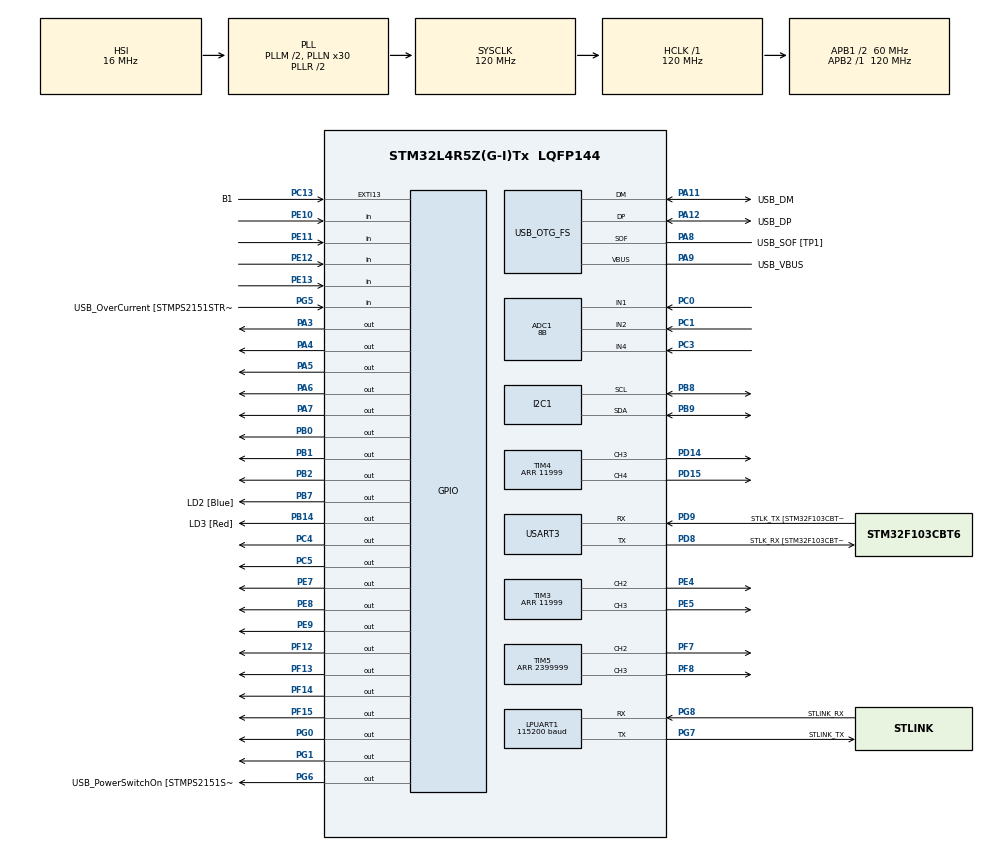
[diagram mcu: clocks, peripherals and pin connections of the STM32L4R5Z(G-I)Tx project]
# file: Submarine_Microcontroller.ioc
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ADC1.Channel-0\#ChannelRegularConversion=ADC_CHANNEL_1
ADC1.Channel-1\#ChannelRegularConversion=ADC_CHANNEL_2
ADC1.Channel-2\#ChannelRegularConversion=ADC_CHANNEL_4
ADC1.DMAContinuousRequests=ENABLE
ADC1.NbrOfConversion=3
ADC1.NbrOfConversionFlag=1
ADC1.OffsetNumber-0\#ChannelRegularConversion=ADC_OFFSET_NONE
ADC1.OffsetNumber-1\#ChannelRegularConversion=ADC_OFFSET_NONE
ADC1.OffsetNumber-2\#ChannelRegularConversion=ADC_OFFSET_NONE
ADC1.Rank-0\#ChannelRegularConversion=1
ADC1.Rank-1\#ChannelRegularConversion=2
ADC1.Rank-2\#ChannelRegularConversion=3
ADC1.Resolution=ADC_RESOLUTION_8B
ADC1.SamplingTime-0\#ChannelRegularConversion=ADC_SAMPLETIME_2CYCLES_5
ADC1.SamplingTime-1\#ChannelRegularConversion=ADC_SAMPLETIME_2CYCLES_5
ADC1.SamplingTime-2\#ChannelRegularConversion=ADC_SAMPLETIME_2CYCLES_5
ADC1.master=1
Dma.ADC1.0.Direction=DMA_PERIPH_TO_MEMORY
Dma.ADC1.0.EventEnable=DISABLE
Dma.ADC1.0.Instance=DMA1_Channel1
Dma.ADC1.0.MemDataAlignment=DMA_MDATAALIGN_WORD
Dma.ADC1.0.MemInc=DMA_MINC_ENABLE
Dma.ADC1.0.Mode=DMA_CIRCULAR
Dma.ADC1.0.PeriphDataAlignment=DMA_PDATAALIGN_WORD
Dma.ADC1.0.PeriphInc=DMA_PINC_DISABLE
Dma.ADC1.0.Polarity=HAL_DMAMUX_REQUEST_GEN_RISING
Dma.ADC1.0.Priority=DMA_PRIORITY_LOW
Dma.ADC1.0.RequestNumber=1
Dma.ADC1.0.SignalID=NONE
Dma.ADC1.0.SyncEnable=DISABLE
Dma.ADC1.0.SyncPolarity=HAL_DMAMUX_SYNC_NO_EVENT
Dma.ADC1.0.SyncRequestNumber=1
Dma.ADC1.0.SyncSignalID=NONE
Dma.Request0=ADC1
I2C1.Timing=0x107075B0
LPUART1.BaudRate=115200
LPUART1.WordLength=UART_WORDLENGTH_8B
Mcu.Family=STM32L4
Mcu.Name=STM32L4R5Z(G-I)Tx
Mcu.Package=LQFP144
NVIC.DMA1_Channel1_IRQn=true\:0\:0\:false\:false\:true\:false\:true\:true
NVIC.LPUART1_IRQn=true\:0\:0\:false\:false\:true\:true\:true\:true
NVIC.PriorityGroup=NVIC_PRIORITYGROUP_4
PA0.Signal=ADCx_IN5
PA10.GPIO_Label=USB_ID
PA10.Signal=USB_OTG_FS_ID
PA11.GPIO_Label=USB_DM
PA11.Mode=Device_Only
PA11.Signal=USB_OTG_FS_DM
PA12.GPIO_Label=USB_DP
PA12.Mode=Device_Only
PA12.Signal=USB_OTG_FS_DP
PA13\ (JTMS/SWDIO).GPIO_Label=TMS
PA13\ (JTMS/SWDIO).Mode=Trace_Asynchronous_SW
PA13\ (JTMS/SWDIO).Signal=SYS_JTMS-SWDIO
PA14\ (JTCK/SWCLK).GPIO_Label=TCK
PA14\ (JTCK/SWCLK).Mode=Trace_Asynchronous_SW
PA14\ (JTCK/SWCLK).Signal=SYS_JTCK-SWCLK
PA3.Signal=GPIO_Output
PA4.Signal=GPIO_Output
PA5.Signal=GPIO_Output
PA6.Signal=GPIO_Output
PA7.Signal=GPIO_Output
PA8.GPIO_Label=USB_SOF [TP1]
PA8.Mode=Activate_SOF_FS
PA8.Signal=USB_OTG_FS_SOF
PA9.GPIO_Label=USB_VBUS
PA9.Mode=Activate_VBUS
PA9.Signal=USB_OTG_FS_VBUS
PB0.Signal=GPIO_Output
PB1.Signal=GPIO_Output
PB14.GPIO_Label=LD3 [Red]
PB14.Signal=GPIO_Output
PB2.Signal=GPIO_Output
PB3\ (JTDO/TRACESWO).GPIO_Label=SWO
PB3\ (JTDO/TRACESWO).Mode=Trace_Asynchronous_SW
PB3\ (JTDO/TRACESWO).Signal=SYS_JTDO-SWO
PB7.GPIO_Label=LD2 [Blue]
PB7.Signal=GPIO_Output
PB8.Mode=I2C
PB8.Signal=I2C1_SCL
PB9.Mode=I2C
PB9.Signal=I2C1_SDA
PC0.Signal=ADCx_IN1
PC1.Signal=ADCx_IN2
PC13.GPIO_Label=B1
PC13.Signal=GPXTI13
PC14-OSC32_IN\ (PC14).Signal=RCC_OSC32_IN
PC15-OSC32_OUT\ (PC15).Signal=RCC_OSC32_OUT
PC3.Signal=ADCx_IN4
PC4.Signal=GPIO_Output
PC5.Signal=GPIO_Output
PD14.Signal=S_TIM4_CH3
PD15.Signal=S_TIM4_CH4
PD8.GPIO_Label=STLK_RX [STM32F103CBT6_PA3]
PD8.GPIO_Speed=GPIO_SPEED_FREQ_HIGH
PD8.Mode=Asynchronous
PD8.Signal=USART3_TX
PD9.GPIO_Label=STLK_TX [STM32F103CBT6_PA2]
PD9.GPIO_Speed=GPIO_SPEED_FREQ_HIGH
PD9.Mode=Asynchronous
PD9.Signal=USART3_RX
PE10.Signal=GPIO_Input
PE11.Signal=GPIO_Input
PE12.Signal=GPIO_Input
PE13.Signal=GPIO_Input
PE4.Signal=S_TIM3_CH2
PE5.Signal=S_TIM3_CH3
PE7.Signal=GPIO_Output
PE8.Signal=GPIO_Output
PE9.Signal=GPIO_Output
PF12.Signal=GPIO_Output
PF13.Signal=GPIO_Output
PF14.Signal=GPIO_Output
PF15.Signal=GPIO_Output
PF7.Signal=S_TIM5_CH2
PF8.Signal=S_TIM5_CH3
PG0.Signal=GPIO_Output
PG1.Signal=GPIO_Output
PG5.GPIO_Label=USB_OverCurrent [STMPS2151STR_FAULT]
PG5.Signal=GPIO_Input
PG6.GPIO_Label=USB_PowerSwitchOn [STMPS2151STR_EN]
PG6.Signal=GPIO_Output
PG7.GPIO_Label=STLINK_TX
PG7.Mode=Asynchronous
PG7.Signal=LPUART1_TX
PG8.GPIO_Label=STLINK_RX
PG8.Mode=Asynchronous
PG8.Signal=LPUART1_RX
PH0-OSC_IN\ (PH0).Mode=HSE-External-Oscillator
PH0-OSC_IN\ (PH0).Signal=RCC_OSC_IN
PH1-OSC_OUT\ (PH1).Mode=HSE-External-Oscillator
PH1-OSC_OUT\ (PH1).Signal=RCC_OSC_OUT
ProjectManager.HeapSize=0x200
ProjectManager.StackSize=0x400
ProjectManager.TargetToolchain=Makefile
RCC.48MHZClocksFreq_Value=24000000
RCC.ADCFreq_Value=48000000
RCC.AHBFreq_Value=120000000
RCC.APB1CLKDivider=RCC_HCLK_DIV2
RCC.APB1Freq_Value=60000000
RCC.APB1TimFreq_Value=120000000
RCC.APB2Freq_Value=120000000
RCC.APB2TimFreq_Value=120000000
RCC.CK48CLockSelection=RCC_USBCLKSOURCE_HSI48
RCC.CortexFreq_Value=120000000
RCC.HCLKFreq_Value=120000000
RCC.HSE_VALUE=8000000
RCC.HSI48_VALUE=48000000
RCC.HSI_VALUE=16000000
RCC.LSE_VALUE=32768
RCC.MSI_VALUE=4000000
RCC.PLLM1=2
RCC.PLLM2=2
RCC.PLLMUL=RCC_PLL_MUL9
RCC.PLLN=30
RCC.PLLSAI1N=12
RCC.PLLSourceVirtual=RCC_PLLSOURCE_HSI
RCC.PRESCALERUSB=RCC_USBCLKSOURCE_PLL_DIV1_5
RCC.SYSCLKFreq_VALUE=120000000
RCC.SYSCLKSource=RCC_SYSCLKSOURCE_PLLCLK
RCC.SYSCLKSourceVirtual=RCC_SYSCLKSOURCE_PLLCLK
RCC.USBFreq_Value=48000000
RCC.VCOOutputFreq_Value=240000000
SH.ADCx_IN1.0=ADC1_IN1,IN1-Single-Ended
SH.ADCx_IN2.0=ADC1_IN2,IN2-Single-Ended
SH.ADCx_IN4.0=ADC1_IN4,IN4-Single-Ended
SH.ADCx_IN5.0=ADC1_IN5
SH.S_TIM3_CH2.0=TIM3_CH2,PWM Generation2 CH2
SH.S_TIM3_CH3.0=TIM3_CH3,PWM Generation3 CH3
SH.S_TIM4_CH3.0=TIM4_CH3,PWM Generation3 CH3
SH.S_TIM4_CH4.0=TIM4_CH4,PWM Generation4 CH4
SH.S_TIM5_CH2.0=TIM5_CH2,PWM Generation2 CH2
SH.S_TIM5_CH3.0=TIM5_CH3,PWM Generation3 CH3
TIM3.AutoReloadPreload=TIM_AUTORELOAD_PRELOAD_ENABLE
TIM3.Channel-PWM\ Generation2\ CH2=TIM_CHANNEL_2
TIM3.Channel-PWM\ Generation3\ CH3=TIM_CHANNEL_3
TIM3.Period=11999
TIM4.AutoReloadPreload=TIM_AUTORELOAD_PRELOAD_ENABLE
TIM4.Channel-PWM\ Generation3\ CH3=TIM_CHANNEL_3
TIM4.Channel-PWM\ Generation4\ CH4=TIM_CHANNEL_4
TIM4.Period=11999
TIM5.AutoReloadPreload=TIM_AUTORELOAD_PRELOAD_ENABLE
TIM5.Channel-PWM\ Generation2\ CH2=TIM_CHANNEL_2
TIM5.Channel-PWM\ Generation3\ CH3=TIM_CHANNEL_3
TIM5.Period=2399999
USART3.VirtualMode-Asynchronous=VM_ASYNC
USB_OTG_FS.VirtualMode=Device_Only
VP_TIM3_VS_ClockSourceINT.Mode=Internal
VP_TIM4_VS_ClockSourceINT.Mode=Internal
VP_TIM5_VS_ClockSourceINT.Mode=Internal
board=NUCLEO-L4R5ZI

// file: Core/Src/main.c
/* USER CODE BEGIN Header */
/**
  ******************************************************************************
  * Author          : Dyllon Dunton
  * Date            : 12/11/2023
  ******************************************************************************
  * @file           : main.c
  * @brief          : Main program body
  ******************************************************************************
  * @attention
  *
  * Copyright (c) 2023 STMicroelectronics.
  * All rights reserved.
  *
  * This software is licensed under terms that can be found in the LICENSE file
  * in the root directory of this software component.
  * If no LICENSE file comes with this software, it is provided AS-IS.
  *
  ******************************************************************************
  */
/* USER CODE END Header */
#include "main.h"

/* USER CODE BEGIN Includes */
#include "string.h"
#include "math.h"
#include "stdio.h"

#include "perception.h"
#include "planner.h"
#include "controller.h"
#include "actuator.h"
/* USER CODE END Includes */

ADC_HandleTypeDef hadc1;
DMA_HandleTypeDef hdma_adc1;

I2C_HandleTypeDef hi2c1;

UART_HandleTypeDef hlpuart1;
UART_HandleTypeDef huart3;

TIM_HandleTypeDef htim3;
TIM_HandleTypeDef htim4;
TIM_HandleTypeDef htim5;

PCD_HandleTypeDef hpcd_USB_OTG_FS;

void SystemClock_Config(void);
static void MX_GPIO_Init(void);
static void MX_DMA_Init(void);
static void MX_ADC1_Init(void);
static void MX_I2C1_Init(void);
static void MX_LPUART1_UART_Init(void);
static void MX_USART3_UART_Init(void);
static void MX_USB_OTG_FS_PCD_Init(void);
static void MX_TIM3_Init(void);
static void MX_TIM4_Init(void);
static void MX_TIM5_Init(void);

/* USER CODE BEGIN 0 */
volatile uint8_t rx_received = 0;
volatile uint8_t rx_data[42];
char tx_buffer[100];
uint32_t adcs[3];

/* USER CODE END 0 */

int main(void)
{

  /* MCU Configuration--------------------------------------------------------*/

  /* Reset of all peripherals, Initializes the Flash interface and the Systick. */
  HAL_Init();

  /* Configure the system clock */
  SystemClock_Config();

  /* Initialize all configured peripherals */
  MX_GPIO_Init();
  MX_DMA_Init();
  MX_ADC1_Init();
  MX_I2C1_Init();
  MX_LPUART1_UART_Init();
  MX_USART3_UART_Init();
  MX_USB_OTG_FS_PCD_Init();
  MX_TIM3_Init();
  MX_TIM4_Init();
  MX_TIM5_Init();
  /* USER CODE BEGIN 2 */
	MTR_DRV_INIT();
	HAL_UART_Receive_IT(&hlpuart1, (uint8_t *)rx_data, 42); //Init recieve global interupt for 35 bit buffer
	HAL_TIM_PWM_Start(&htim3, TIM_CHANNEL_2);
	HAL_TIM_PWM_Start(&htim3, TIM_CHANNEL_3);
	HAL_TIM_PWM_Start(&htim4, TIM_CHANNEL_3);
	HAL_TIM_PWM_Start(&htim4, TIM_CHANNEL_4);
	HAL_TIM_PWM_Start(&htim5, TIM_CHANNEL_2);
	HAL_TIM_PWM_Start(&htim5, TIM_CHANNEL_3);

  /* USER CODE END 2 */

  /* Infinite loop */
  /* USER CODE BEGIN WHILE */
  while (1)
  {

	if (rx_received) //New Transmission from RPI
	{
		HAL_ADC_Start_DMA(&hadc1, adcs, 3); //Grab ADC values
		struct envData inputs = envRead(adcs); //Store ADCs and inputs
		struct goalCommand command = parseComs(rx_data); //Get serial data and store command
		struct actuator_command control = controller(command, inputs); //use sensor data and command to set controls
		updateActuators(hlpuart1, control); //Set motors and transmit data back to Raspberry Pi

		rx_received = 0; //get ready for next transmission
	}

    /* USER CODE END WHILE */

  }
}

void SystemClock_Config(void)
{
  RCC_OscInitTypeDef RCC_OscInitStruct = {0};
  RCC_ClkInitTypeDef RCC_ClkInitStruct = {0};

  /** Configure the main internal regulator output voltage
  */
  if (HAL_PWREx_ControlVoltageScaling(PWR_REGULATOR_VOLTAGE_SCALE1_BOOST) != HAL_OK)
  {
    Error_Handler();
  }

  /** Initializes the RCC Oscillators according to the specified parameters
  * in the RCC_OscInitTypeDef structure.
  */
  RCC_OscInitStruct.OscillatorType = RCC_OSCILLATORTYPE_HSI48|RCC_OSCILLATORTYPE_HSI;
  RCC_OscInitStruct.HSIState = RCC_HSI_ON;
  RCC_OscInitStruct.HSI48State = RCC_HSI48_ON;
  RCC_OscInitStruct.HSICalibrationValue = RCC_HSICALIBRATION_DEFAULT;
  RCC_OscInitStruct.PLL.PLLState = RCC_PLL_ON;
  RCC_OscInitStruct.PLL.PLLSource = RCC_PLLSOURCE_HSI;
  RCC_OscInitStruct.PLL.PLLM = 2;
  RCC_OscInitStruct.PLL.PLLN = 30;
  RCC_OscInitStruct.PLL.PLLP = RCC_PLLP_DIV2;
  RCC_OscInitStruct.PLL.PLLQ = RCC_PLLQ_DIV2;
  RCC_OscInitStruct.PLL.PLLR = RCC_PLLR_DIV2;
  if (HAL_RCC_OscConfig(&RCC_OscInitStruct) != HAL_OK)
  {
    Error_Handler();
  }

  /** Initializes the CPU, AHB and APB buses clocks
  */
  RCC_ClkInitStruct.ClockType = RCC_CLOCKTYPE_HCLK|RCC_CLOCKTYPE_SYSCLK
                              |RCC_CLOCKTYPE_PCLK1|RCC_CLOCKTYPE_PCLK2;
  RCC_ClkInitStruct.SYSCLKSource = RCC_SYSCLKSOURCE_PLLCLK;
  RCC_ClkInitStruct.AHBCLKDivider = RCC_SYSCLK_DIV1;
  RCC_ClkInitStruct.APB1CLKDivider = RCC_HCLK_DIV2;
  RCC_ClkInitStruct.APB2CLKDivider = RCC_HCLK_DIV1;

  if (HAL_RCC_ClockConfig(&RCC_ClkInitStruct, FLASH_LATENCY_5) != HAL_OK)
  {
    Error_Handler();
  }
}

static void MX_ADC1_Init(void)
{

  ADC_ChannelConfTypeDef sConfig = {0};

  /** Common config
  */
  hadc1.Instance = ADC1;
  hadc1.Init.ClockPrescaler = ADC_CLOCK_ASYNC_DIV1;
  hadc1.Init.Resolution = ADC_RESOLUTION_8B;
  hadc1.Init.DataAlign = ADC_DATAALIGN_RIGHT;
  hadc1.Init.ScanConvMode = ADC_SCAN_ENABLE;
  hadc1.Init.EOCSelection = ADC_EOC_SINGLE_CONV;
  hadc1.Init.LowPowerAutoWait = DISABLE;
  hadc1.Init.ContinuousConvMode = DISABLE;
  hadc1.Init.NbrOfConversion = 3;
  hadc1.Init.DiscontinuousConvMode = DISABLE;
  hadc1.Init.ExternalTrigConv = ADC_SOFTWARE_START;
  hadc1.Init.ExternalTrigConvEdge = ADC_EXTERNALTRIGCONVEDGE_NONE;
  hadc1.Init.DMAContinuousRequests = ENABLE;
  hadc1.Init.Overrun = ADC_OVR_DATA_PRESERVED;
  hadc1.Init.OversamplingMode = DISABLE;
  hadc1.Init.DFSDMConfig = ADC_DFSDM_MODE_ENABLE;
  if (HAL_ADC_Init(&hadc1) != HAL_OK)
  {
    Error_Handler();
  }

  /** Configure Regular Channel
  */
  sConfig.Channel = ADC_CHANNEL_1;
  sConfig.Rank = ADC_REGULAR_RANK_1;
  sConfig.SamplingTime = ADC_SAMPLETIME_2CYCLES_5;
  sConfig.SingleDiff = ADC_SINGLE_ENDED;
  sConfig.OffsetNumber = ADC_OFFSET_NONE;
  sConfig.Offset = 0;
  if (HAL_ADC_ConfigChannel(&hadc1, &sConfig) != HAL_OK)
  {
    Error_Handler();
  }

  /** Configure Regular Channel
  */
  sConfig.Channel = ADC_CHANNEL_2;
  sConfig.Rank = ADC_REGULAR_RANK_2;
  if (HAL_ADC_ConfigChannel(&hadc1, &sConfig) != HAL_OK)
  {
    Error_Handler();
  }

  /** Configure Regular Channel
  */
  sConfig.Channel = ADC_CHANNEL_4;
  sConfig.Rank = ADC_REGULAR_RANK_3;
  if (HAL_ADC_ConfigChannel(&hadc1, &sConfig) != HAL_OK)
  {
    Error_Handler();
  }

}

static void MX_I2C1_Init(void)
{

  hi2c1.Instance = I2C1;
  hi2c1.Init.Timing = 0x107075B0;
  hi2c1.Init.OwnAddress1 = 0;
  hi2c1.Init.AddressingMode = I2C_ADDRESSINGMODE_7BIT;
  hi2c1.Init.DualAddressMode = I2C_DUALADDRESS_DISABLE;
  hi2c1.Init.OwnAddress2 = 0;
  hi2c1.Init.OwnAddress2Masks = I2C_OA2_NOMASK;
  hi2c1.Init.GeneralCallMode = I2C_GENERALCALL_DISABLE;
  hi2c1.Init.NoStretchMode = I2C_NOSTRETCH_DISABLE;
  if (HAL_I2C_Init(&hi2c1) != HAL_OK)
  {
    Error_Handler();
  }

  /** Configure Analogue filter
  */
  if (HAL_I2CEx_ConfigAnalogFilter(&hi2c1, I2C_ANALOGFILTER_ENABLE) != HAL_OK)
  {
    Error_Handler();
  }

  /** Configure Digital filter
  */
  if (HAL_I2CEx_ConfigDigitalFilter(&hi2c1, 0) != HAL_OK)
  {
    Error_Handler();
  }

}

static void MX_LPUART1_UART_Init(void)
{

  hlpuart1.Instance = LPUART1;
  hlpuart1.Init.BaudRate = 115200;
  hlpuart1.Init.WordLength = UART_WORDLENGTH_8B;
  hlpuart1.Init.StopBits = UART_STOPBITS_1;
  hlpuart1.Init.Parity = UART_PARITY_NONE;
  hlpuart1.Init.Mode = UART_MODE_TX_RX;
  hlpuart1.Init.HwFlowCtl = UART_HWCONTROL_NONE;
  hlpuart1.Init.OneBitSampling = UART_ONE_BIT_SAMPLE_DISABLE;
  hlpuart1.Init.ClockPrescaler = UART_PRESCALER_DIV1;
  hlpuart1.AdvancedInit.AdvFeatureInit = UART_ADVFEATURE_NO_INIT;
  hlpuart1.FifoMode = UART_FIFOMODE_DISABLE;
  if (HAL_UART_Init(&hlpuart1) != HAL_OK)
  {
    Error_Handler();
  }
  if (HAL_UARTEx_SetTxFifoThreshold(&hlpuart1, UART_TXFIFO_THRESHOLD_1_8) != HAL_OK)
  {
    Error_Handler();
  }
  if (HAL_UARTEx_SetRxFifoThreshold(&hlpuart1, UART_RXFIFO_THRESHOLD_1_8) != HAL_OK)
  {
    Error_Handler();
  }
  if (HAL_UARTEx_DisableFifoMode(&hlpuart1) != HAL_OK)
  {
    Error_Handler();
  }

}

static void MX_USART3_UART_Init(void)
{

  huart3.Instance = USART3;
  huart3.Init.BaudRate = 115200;
  huart3.Init.WordLength = UART_WORDLENGTH_8B;
  huart3.Init.StopBits = UART_STOPBITS_1;
  huart3.Init.Parity = UART_PARITY_NONE;
  huart3.Init.Mode = UART_MODE_TX_RX;
  huart3.Init.HwFlowCtl = UART_HWCONTROL_NONE;
  huart3.Init.OverSampling = UART_OVERSAMPLING_16;
  huart3.Init.OneBitSampling = UART_ONE_BIT_SAMPLE_DISABLE;
  huart3.Init.ClockPrescaler = UART_PRESCALER_DIV1;
  huart3.AdvancedInit.AdvFeatureInit = UART_ADVFEATURE_NO_INIT;
  if (HAL_UART_Init(&huart3) != HAL_OK)
  {
    Error_Handler();
  }
  if (HAL_UARTEx_SetTxFifoThreshold(&huart3, UART_TXFIFO_THRESHOLD_1_8) != HAL_OK)
  {
    Error_Handler();
  }
  if (HAL_UARTEx_SetRxFifoThreshold(&huart3, UART_RXFIFO_THRESHOLD_1_8) != HAL_OK)
  {
    Error_Handler();
  }
  if (HAL_UARTEx_DisableFifoMode(&huart3) != HAL_OK)
  {
    Error_Handler();
  }

}

static void MX_TIM3_Init(void)
{

  TIM_ClockConfigTypeDef sClockSourceConfig = {0};
  TIM_MasterConfigTypeDef sMasterConfig = {0};
  TIM_OC_InitTypeDef sConfigOC = {0};

  htim3.Instance = TIM3;
  htim3.Init.Prescaler = 0;
  htim3.Init.CounterMode = TIM_COUNTERMODE_UP;
  htim3.Init.Period = 11999;
  htim3.Init.ClockDivision = TIM_CLOCKDIVISION_DIV1;
  htim3.Init.AutoReloadPreload = TIM_AUTORELOAD_PRELOAD_ENABLE;
  if (HAL_TIM_Base_Init(&htim3) != HAL_OK)
  {
    Error_Handler();
  }
  sClockSourceConfig.ClockSource = TIM_CLOCKSOURCE_INTERNAL;
  if (HAL_TIM_ConfigClockSource(&htim3, &sClockSourceConfig) != HAL_OK)
  {
    Error_Handler();
  }
  if (HAL_TIM_PWM_Init(&htim3) != HAL_OK)
  {
    Error_Handler();
  }
  sMasterConfig.MasterOutputTrigger = TIM_TRGO_RESET;
  sMasterConfig.MasterSlaveMode = TIM_MASTERSLAVEMODE_DISABLE;
  if (HAL_TIMEx_MasterConfigSynchronization(&htim3, &sMasterConfig) != HAL_OK)
  {
    Error_Handler();
  }
  sConfigOC.OCMode = TIM_OCMODE_PWM1;
  sConfigOC.Pulse = 0;
  sConfigOC.OCPolarity = TIM_OCPOLARITY_HIGH;
  sConfigOC.OCFastMode = TIM_OCFAST_DISABLE;
  if (HAL_TIM_PWM_ConfigChannel(&htim3, &sConfigOC, TIM_CHANNEL_2) != HAL_OK)
  {
    Error_Handler();
  }
  if (HAL_TIM_PWM_ConfigChannel(&htim3, &sConfigOC, TIM_CHANNEL_3) != HAL_OK)
  {
    Error_Handler();
  }
  HAL_TIM_MspPostInit(&htim3);

}

static void MX_TIM4_Init(void)
{

  TIM_ClockConfigTypeDef sClockSourceConfig = {0};
  TIM_MasterConfigTypeDef sMasterConfig = {0};
  TIM_OC_InitTypeDef sConfigOC = {0};

  htim4.Instance = TIM4;
  htim4.Init.Prescaler = 0;
  htim4.Init.CounterMode = TIM_COUNTERMODE_UP;
  htim4.Init.Period = 11999;
  htim4.Init.ClockDivision = TIM_CLOCKDIVISION_DIV1;
  htim4.Init.AutoReloadPreload = TIM_AUTORELOAD_PRELOAD_ENABLE;
  if (HAL_TIM_Base_Init(&htim4) != HAL_OK)
  {
    Error_Handler();
  }
  sClockSourceConfig.ClockSource = TIM_CLOCKSOURCE_INTERNAL;
  if (HAL_TIM_ConfigClockSource(&htim4, &sClockSourceConfig) != HAL_OK)
  {
    Error_Handler();
  }
  if (HAL_TIM_PWM_Init(&htim4) != HAL_OK)
  {
    Error_Handler();
  }
  sMasterConfig.MasterOutputTrigger = TIM_TRGO_RESET;
  sMasterConfig.MasterSlaveMode = TIM_MASTERSLAVEMODE_DISABLE;
  if (HAL_TIMEx_MasterConfigSynchronization(&htim4, &sMasterConfig) != HAL_OK)
  {
    Error_Handler();
  }
  sConfigOC.OCMode = TIM_OCMODE_PWM1;
  sConfigOC.Pulse = 0;
  sConfigOC.OCPolarity = TIM_OCPOLARITY_HIGH;
  sConfigOC.OCFastMode = TIM_OCFAST_DISABLE;
  if (HAL_TIM_PWM_ConfigChannel(&htim4, &sConfigOC, TIM_CHANNEL_3) != HAL_OK)
  {
    Error_Handler();
  }
  if (HAL_TIM_PWM_ConfigChannel(&htim4, &sConfigOC, TIM_CHANNEL_4) != HAL_OK)
  {
    Error_Handler();
  }
  HAL_TIM_MspPostInit(&htim4);

}

static void MX_TIM5_Init(void)
{

  TIM_ClockConfigTypeDef sClockSourceConfig = {0};
  TIM_MasterConfigTypeDef sMasterConfig = {0};
  TIM_OC_InitTypeDef sConfigOC = {0};

  htim5.Instance = TIM5;
  htim5.Init.Prescaler = 0;
  htim5.Init.CounterMode = TIM_COUNTERMODE_UP;
  htim5.Init.Period = 2399999;
  htim5.Init.ClockDivision = TIM_CLOCKDIVISION_DIV1;
  htim5.Init.AutoReloadPreload = TIM_AUTORELOAD_PRELOAD_ENABLE;
  if (HAL_TIM_Base_Init(&htim5) != HAL_OK)
  {
    Error_Handler();
  }
  sClockSourceConfig.ClockSource = TIM_CLOCKSOURCE_INTERNAL;
  if (HAL_TIM_ConfigClockSource(&htim5, &sClockSourceConfig) != HAL_OK)
  {
    Error_Handler();
  }
  if (HAL_TIM_PWM_Init(&htim5) != HAL_OK)
  {
    Error_Handler();
  }
  sMasterConfig.MasterOutputTrigger = TIM_TRGO_RESET;
  sMasterConfig.MasterSlaveMode = TIM_MASTERSLAVEMODE_DISABLE;
  if (HAL_TIMEx_MasterConfigSynchronization(&htim5, &sMasterConfig) != HAL_OK)
  {
    Error_Handler();
  }
  sConfigOC.OCMode = TIM_OCMODE_PWM1;
  sConfigOC.Pulse = 0;
  sConfigOC.OCPolarity = TIM_OCPOLARITY_HIGH;
  sConfigOC.OCFastMode = TIM_OCFAST_DISABLE;
  if (HAL_TIM_PWM_ConfigChannel(&htim5, &sConfigOC, TIM_CHANNEL_2) != HAL_OK)
  {
    Error_Handler();
  }
  if (HAL_TIM_PWM_ConfigChannel(&htim5, &sConfigOC, TIM_CHANNEL_3) != HAL_OK)
  {
    Error_Handler();
  }
  HAL_TIM_MspPostInit(&htim5);

}

static void MX_USB_OTG_FS_PCD_Init(void)
{

  hpcd_USB_OTG_FS.Instance = USB_OTG_FS;
  hpcd_USB_OTG_FS.Init.dev_endpoints = 6;
  hpcd_USB_OTG_FS.Init.phy_itface = PCD_PHY_EMBEDDED;
  hpcd_USB_OTG_FS.Init.Sof_enable = ENABLE;
  hpcd_USB_OTG_FS.Init.low_power_enable = DISABLE;
  hpcd_USB_OTG_FS.Init.lpm_enable = DISABLE;
  hpcd_USB_OTG_FS.Init.battery_charging_enable = ENABLE;
  hpcd_USB_OTG_FS.Init.use_dedicated_ep1 = DISABLE;
  hpcd_USB_OTG_FS.Init.vbus_sensing_enable = ENABLE;
  if (HAL_PCD_Init(&hpcd_USB_OTG_FS) != HAL_OK)
  {
    Error_Handler();
  }

}

static void MX_DMA_Init(void)
{

  /* DMA controller clock enable */
  __HAL_RCC_DMAMUX1_CLK_ENABLE();
  __HAL_RCC_DMA1_CLK_ENABLE();

  /* DMA interrupt init */
  /* DMA1_Channel1_IRQn interrupt configuration */
  HAL_NVIC_SetPriority(DMA1_Channel1_IRQn, 0, 0);
  HAL_NVIC_EnableIRQ(DMA1_Channel1_IRQn);
  /* DMAMUX1_OVR_IRQn interrupt configuration */
  HAL_NVIC_SetPriority(DMAMUX1_OVR_IRQn, 0, 0);
  HAL_NVIC_EnableIRQ(DMAMUX1_OVR_IRQn);

}

static void MX_GPIO_Init(void)
{
  GPIO_InitTypeDef GPIO_InitStruct = {0};

  /* GPIO Ports Clock Enable */
  __HAL_RCC_GPIOE_CLK_ENABLE();
  __HAL_RCC_GPIOC_CLK_ENABLE();
  __HAL_RCC_GPIOF_CLK_ENABLE();
  __HAL_RCC_GPIOH_CLK_ENABLE();
  __HAL_RCC_GPIOA_CLK_ENABLE();
  __HAL_RCC_GPIOB_CLK_ENABLE();
  __HAL_RCC_GPIOG_CLK_ENABLE();
  __HAL_RCC_GPIOD_CLK_ENABLE();
  HAL_PWREx_EnableVddIO2();

  /*Configure GPIO pin Output Level */
  HAL_GPIO_WritePin(GPIOA, GPIO_PIN_3|GPIO_PIN_4|GPIO_PIN_5|GPIO_PIN_6
                          |GPIO_PIN_7, GPIO_PIN_RESET);

  /*Configure GPIO pin Output Level */
  HAL_GPIO_WritePin(GPIOC, GPIO_PIN_4|GPIO_PIN_5, GPIO_PIN_RESET);

  /*Configure GPIO pin Output Level */
  HAL_GPIO_WritePin(GPIOB, GPIO_PIN_0|GPIO_PIN_1|GPIO_PIN_2|LD3_Pin
                          |LD2_Pin, GPIO_PIN_RESET);

  /*Configure GPIO pin Output Level */
  HAL_GPIO_WritePin(GPIOF, GPIO_PIN_12|GPIO_PIN_13|GPIO_PIN_14|GPIO_PIN_15, GPIO_PIN_RESET);

  /*Configure GPIO pin Output Level */
  HAL_GPIO_WritePin(GPIOG, GPIO_PIN_0|GPIO_PIN_1|USB_PowerSwitchOn_Pin, GPIO_PIN_RESET);

  /*Configure GPIO pin Output Level */
  HAL_GPIO_WritePin(GPIOE, GPIO_PIN_7|GPIO_PIN_8|GPIO_PIN_9, GPIO_PIN_RESET);

  /*Configure GPIO pin : B1_Pin */
  GPIO_InitStruct.Pin = B1_Pin;
  GPIO_InitStruct.Mode = GPIO_MODE_IT_RISING;
  GPIO_InitStruct.Pull = GPIO_NOPULL;
  HAL_GPIO_Init(B1_GPIO_Port, &GPIO_InitStruct);

  /*Configure GPIO pins : PA3 PA4 PA5 PA6
                           PA7 */
  GPIO_InitStruct.Pin = GPIO_PIN_3|GPIO_PIN_4|GPIO_PIN_5|GPIO_PIN_6
                          |GPIO_PIN_7;
  GPIO_InitStruct.Mode = GPIO_MODE_OUTPUT_PP;
  GPIO_InitStruct.Pull = GPIO_NOPULL;
  GPIO_InitStruct.Speed = GPIO_SPEED_FREQ_LOW;
  HAL_GPIO_Init(GPIOA, &GPIO_InitStruct);

  /*Configure GPIO pins : PC4 PC5 */
  GPIO_InitStruct.Pin = GPIO_PIN_4|GPIO_PIN_5;
  GPIO_InitStruct.Mode = GPIO_MODE_OUTPUT_PP;
  GPIO_InitStruct.Pull = GPIO_NOPULL;
  GPIO_InitStruct.Speed = GPIO_SPEED_FREQ_LOW;
  HAL_GPIO_Init(GPIOC, &GPIO_InitStruct);

  /*Configure GPIO pins : PB0 PB1 PB2 LD3_Pin
                           LD2_Pin */
  GPIO_InitStruct.Pin = GPIO_PIN_0|GPIO_PIN_1|GPIO_PIN_2|LD3_Pin
                          |LD2_Pin;
  GPIO_InitStruct.Mode = GPIO_MODE_OUTPUT_PP;
  GPIO_InitStruct.Pull = GPIO_NOPULL;
  GPIO_InitStruct.Speed = GPIO_SPEED_FREQ_LOW;
  HAL_GPIO_Init(GPIOB, &GPIO_InitStruct);

  /*Configure GPIO pins : PF12 PF13 PF14 PF15 */
  GPIO_InitStruct.Pin = GPIO_PIN_12|GPIO_PIN_13|GPIO_PIN_14|GPIO_PIN_15;
  GPIO_InitStruct.Mode = GPIO_MODE_OUTPUT_PP;
  GPIO_InitStruct.Pull = GPIO_NOPULL;
  GPIO_InitStruct.Speed = GPIO_SPEED_FREQ_LOW;
  HAL_GPIO_Init(GPIOF, &GPIO_InitStruct);

  /*Configure GPIO pins : PG0 PG1 USB_PowerSwitchOn_Pin */
  GPIO_InitStruct.Pin = GPIO_PIN_0|GPIO_PIN_1|USB_PowerSwitchOn_Pin;
  GPIO_InitStruct.Mode = GPIO_MODE_OUTPUT_PP;
  GPIO_InitStruct.Pull = GPIO_NOPULL;
  GPIO_InitStruct.Speed = GPIO_SPEED_FREQ_LOW;
  HAL_GPIO_Init(GPIOG, &GPIO_InitStruct);

  /*Configure GPIO pins : PE7 PE8 PE9 */
  GPIO_InitStruct.Pin = GPIO_PIN_7|GPIO_PIN_8|GPIO_PIN_9;
  GPIO_InitStruct.Mode = GPIO_MODE_OUTPUT_PP;
  GPIO_InitStruct.Pull = GPIO_NOPULL;
  GPIO_InitStruct.Speed = GPIO_SPEED_FREQ_LOW;
  HAL_GPIO_Init(GPIOE, &GPIO_InitStruct);

  /*Configure GPIO pins : PE10 PE11 PE12 PE13 */
  GPIO_InitStruct.Pin = GPIO_PIN_10|GPIO_PIN_11|GPIO_PIN_12|GPIO_PIN_13;
  GPIO_InitStruct.Mode = GPIO_MODE_INPUT;
  GPIO_InitStruct.Pull = GPIO_NOPULL;
  HAL_GPIO_Init(GPIOE, &GPIO_InitStruct);

  /*Configure GPIO pin : USB_OverCurrent_Pin */
  GPIO_InitStruct.Pin = USB_OverCurrent_Pin;
  GPIO_InitStruct.Mode = GPIO_MODE_INPUT;
  GPIO_InitStruct.Pull = GPIO_NOPULL;
  HAL_GPIO_Init(USB_OverCurrent_GPIO_Port, &GPIO_InitStruct);

}

/* USER CODE BEGIN 4 */
void HAL_UART_RxCpltCallback(UART_HandleTypeDef *huart)
{
	//UNUSED(huart); //waring suppresion

	//HAL_GPIO_TogglePin(GPIOB, GPIO_PIN_14); //toggle LED for dev
	rx_received = 1;//set flag for use in while loop

	HAL_UART_Receive_IT(&hlpuart1, (uint8_t *)rx_data, 42); //reset UART interupt for next transmission
}

/* USER CODE END 4 */

void Error_Handler(void)
{
  __disable_irq();
  while (1)
  {
  }
}
